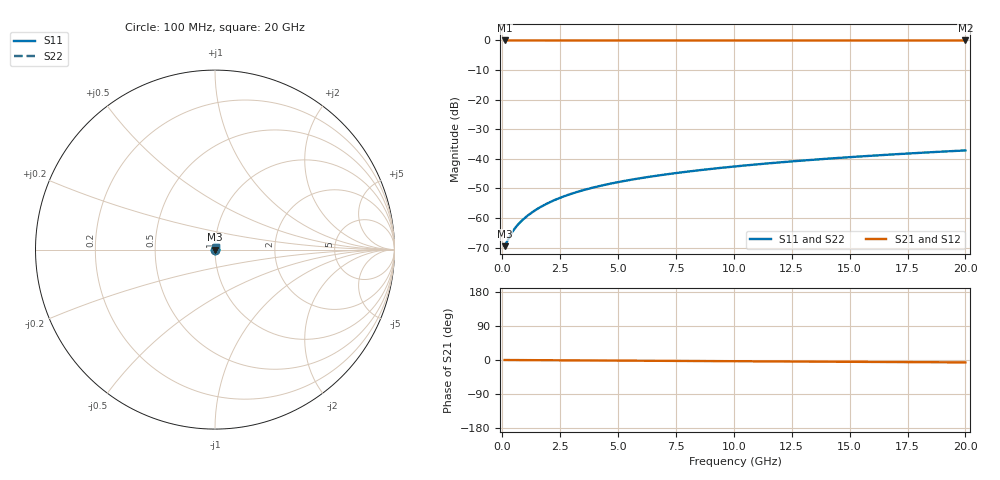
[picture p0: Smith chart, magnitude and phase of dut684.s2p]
! Touchstone file exported from HFSS 2026.1.0
!  File:  C:/ffzhzh/LocalFiles/Ansys_Project_Files/temp_train_TSV_684_1783027428_46388.aedt
!  Generated:  05:25:51 AM Jul  3, 2026
!  Design:  TSV
!  Project:  temp_train_TSV_684_1783027428_46388
! Variables:
!  h_bsmrdl = 2um
!  h_ox = 20um
!  h_rdl = 5um
!  h_sub = 64.95um
!  h_tmrdl = 5um
!  h_tsv = 64.95um
!  h_via = 3um
!  l_bsmrdl = 300um
!  l_sub = 410.38um
!  l_tmrdl = 200um
!  m_sub = 200um
!  pitch = 24.65um
!  r_tsv = 5.19um
!  s_tmrdl = 10um
!  w_bsmrdl = 18um
!  w_sub = 500um
!  w_tmrdl = 12um
!  x_tsv_center1 = 206um
!  x_tsv_center2 = 524um
!  x_tsv_center3 = 736um
!  x_tsv_center4 = 1054um
!  x_tsv_center5 = 1266um
!  x_tsv_center6 = 1584um
# GHz S MA R 50.000000
! Terminal data exported
! Port[1] = TSV1_1_T1
! Port[2] = TSV1_1_T2
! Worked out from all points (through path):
!   200 points, 100 MHz to 20 GHz, reference 50 ohm
!   highest |S21| = 0.00 dB at 100 MHz (marker M1); lowest = 0.0 dB at 20 GHz (marker M2)
!   lowest |S11| = -69.5 dB at 100 MHz (marker M3), VSWR 1.00, Z = 50 + j0.0113 ohm
!   |S11| at or under -10 dB: start of sweep to end of sweep
!   |S22| runs from -69.5 to -37.2 dB; largest |S21 - S12| = 2.3e-15
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0.1  0.0003335 19.8  0.9997 -0.0  0.9997 -0.0  0.0003335 19.8
! Gamma 0 0 0 0
! Port Impedance 50 0 50 0
0.3  0.0004728 42.7  0.9997 -0.1  0.9997 -0.1  0.0004728 42.7
0.4  0.0005536 48.3  0.9996 -0.1  0.9996 -0.1  0.0005536 48.3
0.5  0.0006337 52.3  0.9996 -0.2  0.9996 -0.2  0.0006337 52.3
0.6  0.0007123 55.4  0.9996 -0.2  0.9996 -0.2  0.0007123 55.4
0.7  0.00079 57.9  0.9996 -0.2  0.9996 -0.2  0.00079 57.9
0.9  0.0009442 61.7  0.9996 -0.3  0.9996 -0.3  0.0009442 61.7
1.1  0.001099 64.6  0.9995 -0.4  0.9995 -0.4  0.001099 64.6
1.3  0.001255 66.8  0.9995 -0.4  0.9995 -0.4  0.001255 66.8
1.8  0.001648 70.4  0.9995 -0.6  0.9995 -0.6  0.001648 70.4
2.3  0.002039 72.4  0.9994 -0.8  0.9994 -0.8  0.002039 72.4
2.9  0.002501 73.7  0.9993 -0.9  0.9993 -0.9  0.002501 73.7
3.5  0.002952 74.5  0.9993 -1.1  0.9993 -1.1  0.002952 74.5
4.2  0.003464 75.0  0.9992 -1.4  0.9992 -1.4  0.003464 75.0
5  0.004032 75.4  0.9991 -1.6  0.9991 -1.6  0.004032 75.4
5.9  0.004656 75.8  0.999 -1.9  0.999 -1.9  0.004656 75.8
6.8  0.005267 76.1  0.9989 -2.2  0.9989 -2.2  0.005267 76.1
8.3  0.00627 76.4  0.9988 -2.7  0.9988 -2.7  0.00627 76.4
10.1  0.007459 76.7  0.9987 -3.2  0.9987 -3.2  0.007459 76.7
13.4  0.009618 76.8  0.9985 -4.3  0.9985 -4.3  0.009618 76.8
16.7  0.01175 76.5  0.9983 -5.3  0.9983 -5.3  0.01175 76.5
20  0.01385 76.0  0.9981 -6.3  0.9981 -6.3  0.01385 76.0
